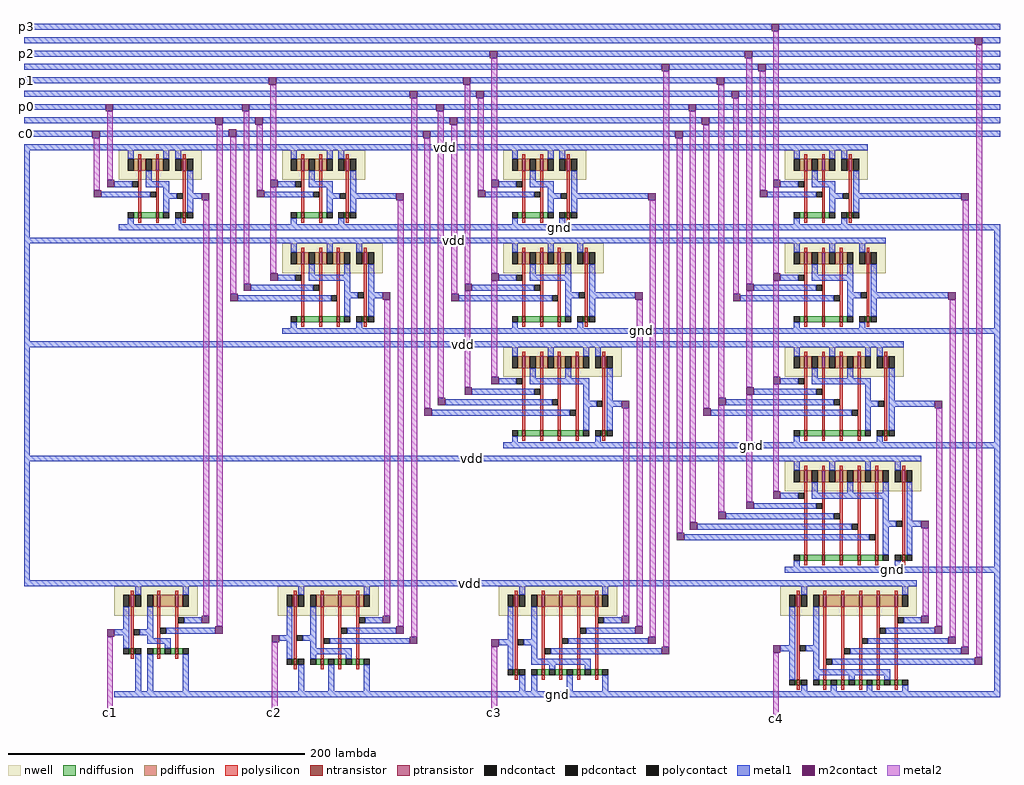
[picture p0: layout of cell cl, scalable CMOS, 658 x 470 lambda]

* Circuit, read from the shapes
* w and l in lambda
.subckt cl c0 c1 c2 c3 c4 g0 g1 g2 g3 gnd p0 p1 p2 p3 vdd
M1 gnd n1 c1 VSUBS nfet w=4 l=2
M2 n2 p0 gnd VSUBS nfet w=4 l=2
M3 n3 c0 n2 VSUBS nfet w=4 l=2
M4 n1 g0 gnd VSUBS nfet w=4 l=2
M5 gnd n4 n1 VSUBS nfet w=4 l=2
M6 n4 n3 gnd VSUBS nfet w=4 l=2
M7 gnd n5 c2 VSUBS nfet w=4 l=2
M8 n6 p1 gnd VSUBS nfet w=4 l=2
M9 n7 p1 gnd VSUBS nfet w=4 l=2
M10 n8 p0 n6 VSUBS nfet w=4 l=2
M11 n9 g0 n7 VSUBS nfet w=4 l=2
M12 gnd g1 n5 VSUBS nfet w=4 l=2
M13 n10 c0 n8 VSUBS nfet w=4 l=2
M14 n5 n11 gnd VSUBS nfet w=4 l=2
M15 n11 n9 gnd VSUBS nfet w=4 l=2
M16 gnd n12 n5 VSUBS nfet w=4 l=2
M17 n12 n10 gnd VSUBS nfet w=4 l=2
M18 gnd n13 c3 VSUBS nfet w=4 l=2
M19 n14 p2 gnd VSUBS nfet w=4 l=2
M20 n15 p2 gnd VSUBS nfet w=4 l=2
M21 n16 p2 gnd VSUBS nfet w=4 l=2
M22 n17 p1 n14 VSUBS nfet w=4 l=2
M23 n18 p1 n15 VSUBS nfet w=4 l=2
M24 n19 g1 n16 VSUBS nfet w=4 l=2
M25 n13 g2 gnd VSUBS nfet w=4 l=2
M26 n20 p0 n17 VSUBS nfet w=4 l=2
M27 n21 g0 n18 VSUBS nfet w=4 l=2
M28 gnd n22 n13 VSUBS nfet w=4 l=2
M29 n22 n19 gnd VSUBS nfet w=4 l=2
M30 n23 c0 n20 VSUBS nfet w=4 l=2
M31 n13 n24 gnd VSUBS nfet w=4 l=2
M32 n24 n21 gnd VSUBS nfet w=4 l=2
M33 gnd n25 n13 VSUBS nfet w=4 l=2
M34 n25 n23 gnd VSUBS nfet w=4 l=2
M35 gnd n26 c4 VSUBS nfet w=4 l=2
M36 n27 p3 gnd VSUBS nfet w=4 l=2
M37 n28 p3 gnd VSUBS nfet w=4 l=2
M38 n29 p3 gnd VSUBS nfet w=4 l=2
M39 n30 p3 gnd VSUBS nfet w=4 l=2
M40 n31 p2 n27 VSUBS nfet w=4 l=2
M41 n32 p2 n28 VSUBS nfet w=4 l=2
M42 n33 p2 n29 VSUBS nfet w=4 l=2
M43 n34 g2 n30 VSUBS nfet w=4 l=2
M44 gnd g3 n26 VSUBS nfet w=4 l=2
M45 n35 p1 n31 VSUBS nfet w=4 l=2
M46 n36 p1 n32 VSUBS nfet w=4 l=2
M47 n37 g1 n33 VSUBS nfet w=4 l=2
M48 n26 n38 gnd VSUBS nfet w=4 l=2
M49 n38 n34 gnd VSUBS nfet w=4 l=2
M50 n39 p0 n35 VSUBS nfet w=4 l=2
M51 n40 g0 n36 VSUBS nfet w=4 l=2
M52 gnd n41 n26 VSUBS nfet w=4 l=2
M53 n41 n37 gnd VSUBS nfet w=4 l=2
M54 n42 c0 n39 VSUBS nfet w=4 l=2
M55 n26 n43 gnd VSUBS nfet w=4 l=2
M56 n43 n40 gnd VSUBS nfet w=4 l=2
M57 gnd n44 n26 VSUBS nfet w=4 l=2
M58 n44 n42 gnd VSUBS nfet w=4 l=2
M59 vdd n1 c1 n45 pfet w=8 l=2
M60 n3 p0 vdd n46 pfet w=8 l=2
M61 vdd c0 n3 n46 pfet w=8 l=2
M62 n47 g0 n1 n45 pfet w=8 l=2
M63 vdd n4 n47 n45 pfet w=8 l=2
M64 n4 n3 vdd n46 pfet w=8 l=2
M65 vdd n5 c2 n48 pfet w=8 l=2
M66 n10 p1 vdd n49 pfet w=8 l=2
M67 n9 p1 vdd n50 pfet w=8 l=2
M68 vdd p0 n10 n49 pfet w=8 l=2
M69 vdd g0 n9 n50 pfet w=8 l=2
M70 n51 g1 n5 n48 pfet w=8 l=2
M71 n10 c0 vdd n49 pfet w=8 l=2
M72 n52 n11 n51 n48 pfet w=8 l=2
M73 n11 n9 vdd n50 pfet w=8 l=2
M74 vdd n12 n52 n48 pfet w=8 l=2
M75 n12 n10 vdd n49 pfet w=8 l=2
M76 vdd n13 c3 n53 pfet w=8 l=2
M77 n23 p2 vdd n54 pfet w=8 l=2
M78 n21 p2 vdd n55 pfet w=8 l=2
M79 n19 p2 vdd n56 pfet w=8 l=2
M80 vdd p1 n23 n54 pfet w=8 l=2
M81 vdd p1 n21 n55 pfet w=8 l=2
M82 vdd g1 n19 n56 pfet w=8 l=2
M83 n57 g2 n13 n53 pfet w=8 l=2
M84 n23 p0 vdd n54 pfet w=8 l=2
M85 n21 g0 vdd n55 pfet w=8 l=2
M86 n58 n22 n57 n53 pfet w=8 l=2
M87 n22 n19 vdd n56 pfet w=8 l=2
M88 vdd c0 n23 n54 pfet w=8 l=2
M89 n59 n24 n58 n53 pfet w=8 l=2
M90 n24 n21 vdd n55 pfet w=8 l=2
M91 vdd n25 n59 n53 pfet w=8 l=2
M92 n25 n23 vdd n54 pfet w=8 l=2
M93 vdd n26 c4 n60 pfet w=8 l=2
M94 n42 p3 vdd n61 pfet w=8 l=2
M95 n40 p3 vdd n62 pfet w=8 l=2
M96 n37 p3 vdd n63 pfet w=8 l=2
M97 n34 p3 vdd n64 pfet w=8 l=2
M98 vdd p2 n42 n61 pfet w=8 l=2
M99 vdd p2 n40 n62 pfet w=8 l=2
M100 vdd p2 n37 n63 pfet w=8 l=2
M101 vdd g2 n34 n64 pfet w=8 l=2
M102 n65 g3 n26 n60 pfet w=8 l=2
M103 n42 p1 vdd n61 pfet w=8 l=2
M104 n40 p1 vdd n62 pfet w=8 l=2
M105 n37 g1 vdd n63 pfet w=8 l=2
M106 n66 n38 n65 n60 pfet w=8 l=2
M107 n38 n34 vdd n64 pfet w=8 l=2
M108 vdd p0 n42 n61 pfet w=8 l=2
M109 vdd g0 n40 n62 pfet w=8 l=2
M110 n67 n41 n66 n60 pfet w=8 l=2
M111 n41 n37 vdd n63 pfet w=8 l=2
M112 n42 c0 vdd n61 pfet w=8 l=2
M113 n68 n43 n67 n60 pfet w=8 l=2
M114 n43 n40 vdd n62 pfet w=8 l=2
M115 vdd n44 n68 n60 pfet w=8 l=2
M116 n44 n42 vdd n61 pfet w=8 l=2
.ends

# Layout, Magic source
magic
tech scmos
<< nwell >>
rect 64 -29 120 -9
rect 174 -29 230 -9
rect 323 -29 379 -9
rect 513 -29 569 -9
rect 174 -92 242 -72
rect 323 -92 391 -72
rect 513 -92 581 -72
rect 323 -162 403 -142
rect 513 -162 593 -142
rect 513 -239 605 -219
rect 61 -323 117 -303
rect 171 -323 239 -303
rect 320 -323 400 -303
rect 510 -323 602 -303
<< ntransistor >>
rect 77 -55 79 -51
rect 89 -55 91 -51
rect 107 -55 109 -51
rect 187 -55 189 -51
rect 199 -55 201 -51
rect 217 -55 219 -51
rect 336 -55 338 -51
rect 348 -55 350 -51
rect 366 -55 368 -51
rect 526 -55 528 -51
rect 538 -55 540 -51
rect 556 -55 558 -51
rect 187 -125 189 -121
rect 199 -125 201 -121
rect 211 -125 213 -121
rect 229 -125 231 -121
rect 336 -125 338 -121
rect 348 -125 350 -121
rect 360 -125 362 -121
rect 378 -125 380 -121
rect 526 -125 528 -121
rect 538 -125 540 -121
rect 550 -125 552 -121
rect 568 -125 570 -121
rect 336 -202 338 -198
rect 348 -202 350 -198
rect 360 -202 362 -198
rect 372 -202 374 -198
rect 390 -202 392 -198
rect 526 -202 528 -198
rect 538 -202 540 -198
rect 550 -202 552 -198
rect 562 -202 564 -198
rect 580 -202 582 -198
rect 526 -286 528 -282
rect 538 -286 540 -282
rect 550 -286 552 -282
rect 562 -286 564 -282
rect 574 -286 576 -282
rect 592 -286 594 -282
rect 72 -349 74 -345
rect 90 -349 92 -345
rect 102 -349 104 -345
rect 182 -356 184 -352
rect 200 -356 202 -352
rect 212 -356 214 -352
rect 224 -356 226 -352
rect 331 -363 333 -359
rect 349 -363 351 -359
rect 361 -363 363 -359
rect 373 -363 375 -359
rect 385 -363 387 -359
rect 521 -370 523 -366
rect 539 -370 541 -366
rect 551 -370 553 -366
rect 563 -370 565 -366
rect 575 -370 577 -366
rect 587 -370 589 -366
<< ptransistor >>
rect 77 -23 79 -15
rect 89 -23 91 -15
rect 107 -23 109 -15
rect 187 -23 189 -15
rect 199 -23 201 -15
rect 217 -23 219 -15
rect 336 -23 338 -15
rect 348 -23 350 -15
rect 366 -23 368 -15
rect 526 -23 528 -15
rect 538 -23 540 -15
rect 556 -23 558 -15
rect 187 -86 189 -78
rect 199 -86 201 -78
rect 211 -86 213 -78
rect 229 -86 231 -78
rect 336 -86 338 -78
rect 348 -86 350 -78
rect 360 -86 362 -78
rect 378 -86 380 -78
rect 526 -86 528 -78
rect 538 -86 540 -78
rect 550 -86 552 -78
rect 568 -86 570 -78
rect 336 -156 338 -148
rect 348 -156 350 -148
rect 360 -156 362 -148
rect 372 -156 374 -148
rect 390 -156 392 -148
rect 526 -156 528 -148
rect 538 -156 540 -148
rect 550 -156 552 -148
rect 562 -156 564 -148
rect 580 -156 582 -148
rect 526 -233 528 -225
rect 538 -233 540 -225
rect 550 -233 552 -225
rect 562 -233 564 -225
rect 574 -233 576 -225
rect 592 -233 594 -225
rect 72 -317 74 -309
rect 90 -317 92 -309
rect 102 -317 104 -309
rect 182 -317 184 -309
rect 200 -317 202 -309
rect 212 -317 214 -309
rect 224 -317 226 -309
rect 331 -317 333 -309
rect 349 -317 351 -309
rect 361 -317 363 -309
rect 373 -317 375 -309
rect 385 -317 387 -309
rect 521 -317 523 -309
rect 539 -317 541 -309
rect 551 -317 553 -309
rect 563 -317 565 -309
rect 575 -317 577 -309
rect 587 -317 589 -309
<< ndiffusion >>
rect 74 -55 77 -51
rect 79 -55 89 -51
rect 91 -55 94 -51
rect 106 -55 107 -51
rect 109 -55 110 -51
rect 184 -55 187 -51
rect 189 -55 199 -51
rect 201 -55 204 -51
rect 216 -55 217 -51
rect 219 -55 220 -51
rect 333 -55 336 -51
rect 338 -55 348 -51
rect 350 -55 353 -51
rect 365 -55 366 -51
rect 368 -55 369 -51
rect 523 -55 526 -51
rect 528 -55 538 -51
rect 540 -55 543 -51
rect 555 -55 556 -51
rect 558 -55 559 -51
rect 184 -125 187 -121
rect 189 -125 199 -121
rect 201 -125 211 -121
rect 213 -125 216 -121
rect 228 -125 229 -121
rect 231 -125 232 -121
rect 333 -125 336 -121
rect 338 -125 348 -121
rect 350 -125 360 -121
rect 362 -125 365 -121
rect 377 -125 378 -121
rect 380 -125 381 -121
rect 523 -125 526 -121
rect 528 -125 538 -121
rect 540 -125 550 -121
rect 552 -125 555 -121
rect 567 -125 568 -121
rect 570 -125 571 -121
rect 333 -202 336 -198
rect 338 -202 348 -198
rect 350 -202 360 -198
rect 362 -202 372 -198
rect 374 -202 377 -198
rect 389 -202 390 -198
rect 392 -202 393 -198
rect 523 -202 526 -198
rect 528 -202 538 -198
rect 540 -202 550 -198
rect 552 -202 562 -198
rect 564 -202 567 -198
rect 579 -202 580 -198
rect 582 -202 583 -198
rect 523 -286 526 -282
rect 528 -286 538 -282
rect 540 -286 550 -282
rect 552 -286 562 -282
rect 564 -286 574 -282
rect 576 -286 579 -282
rect 591 -286 592 -282
rect 594 -286 595 -282
rect 71 -349 72 -345
rect 74 -349 75 -345
rect 87 -349 90 -345
rect 92 -349 95 -345
rect 99 -349 102 -345
rect 104 -349 107 -345
rect 181 -356 182 -352
rect 184 -356 185 -352
rect 197 -356 200 -352
rect 202 -356 205 -352
rect 209 -356 212 -352
rect 214 -356 217 -352
rect 221 -356 224 -352
rect 226 -356 229 -352
rect 330 -363 331 -359
rect 333 -363 334 -359
rect 346 -363 349 -359
rect 351 -363 354 -359
rect 358 -363 361 -359
rect 363 -363 366 -359
rect 370 -363 373 -359
rect 375 -363 378 -359
rect 382 -363 385 -359
rect 387 -363 390 -359
rect 520 -370 521 -366
rect 523 -370 524 -366
rect 536 -370 539 -366
rect 541 -370 544 -366
rect 548 -370 551 -366
rect 553 -370 556 -366
rect 560 -370 563 -366
rect 565 -370 568 -366
rect 572 -370 575 -366
rect 577 -370 580 -366
rect 584 -370 587 -366
rect 589 -370 592 -366
<< pdiffusion >>
rect 74 -23 77 -15
rect 79 -23 82 -15
rect 86 -23 89 -15
rect 91 -23 94 -15
rect 106 -23 107 -15
rect 109 -23 110 -15
rect 184 -23 187 -15
rect 189 -23 192 -15
rect 196 -23 199 -15
rect 201 -23 204 -15
rect 216 -23 217 -15
rect 219 -23 220 -15
rect 333 -23 336 -15
rect 338 -23 341 -15
rect 345 -23 348 -15
rect 350 -23 353 -15
rect 365 -23 366 -15
rect 368 -23 369 -15
rect 523 -23 526 -15
rect 528 -23 531 -15
rect 535 -23 538 -15
rect 540 -23 543 -15
rect 555 -23 556 -15
rect 558 -23 559 -15
rect 184 -86 187 -78
rect 189 -86 192 -78
rect 196 -86 199 -78
rect 201 -86 204 -78
rect 208 -86 211 -78
rect 213 -86 216 -78
rect 228 -86 229 -78
rect 231 -86 232 -78
rect 333 -86 336 -78
rect 338 -86 341 -78
rect 345 -86 348 -78
rect 350 -86 353 -78
rect 357 -86 360 -78
rect 362 -86 365 -78
rect 377 -86 378 -78
rect 380 -86 381 -78
rect 523 -86 526 -78
rect 528 -86 531 -78
rect 535 -86 538 -78
rect 540 -86 543 -78
rect 547 -86 550 -78
rect 552 -86 555 -78
rect 567 -86 568 -78
rect 570 -86 571 -78
rect 333 -156 336 -148
rect 338 -156 341 -148
rect 345 -156 348 -148
rect 350 -156 353 -148
rect 357 -156 360 -148
rect 362 -156 365 -148
rect 369 -156 372 -148
rect 374 -156 377 -148
rect 389 -156 390 -148
rect 392 -156 393 -148
rect 523 -156 526 -148
rect 528 -156 531 -148
rect 535 -156 538 -148
rect 540 -156 543 -148
rect 547 -156 550 -148
rect 552 -156 555 -148
rect 559 -156 562 -148
rect 564 -156 567 -148
rect 579 -156 580 -148
rect 582 -156 583 -148
rect 523 -233 526 -225
rect 528 -233 531 -225
rect 535 -233 538 -225
rect 540 -233 543 -225
rect 547 -233 550 -225
rect 552 -233 555 -225
rect 559 -233 562 -225
rect 564 -233 567 -225
rect 571 -233 574 -225
rect 576 -233 579 -225
rect 591 -233 592 -225
rect 594 -233 595 -225
rect 71 -317 72 -309
rect 74 -317 75 -309
rect 87 -317 90 -309
rect 92 -317 102 -309
rect 104 -317 107 -309
rect 181 -317 182 -309
rect 184 -317 185 -309
rect 197 -317 200 -309
rect 202 -317 212 -309
rect 214 -317 224 -309
rect 226 -317 229 -309
rect 330 -317 331 -309
rect 333 -317 334 -309
rect 346 -317 349 -309
rect 351 -317 361 -309
rect 363 -317 373 -309
rect 375 -317 385 -309
rect 387 -317 390 -309
rect 520 -317 521 -309
rect 523 -317 524 -309
rect 536 -317 539 -309
rect 541 -317 551 -309
rect 553 -317 563 -309
rect 565 -317 575 -309
rect 577 -317 587 -309
rect 589 -317 592 -309
<< ndcontact >>
rect 70 -55 74 -51
rect 94 -55 98 -51
rect 102 -55 106 -51
rect 110 -55 114 -51
rect 180 -55 184 -51
rect 204 -55 208 -51
rect 212 -55 216 -51
rect 220 -55 224 -51
rect 329 -55 333 -51
rect 353 -55 357 -51
rect 361 -55 365 -51
rect 369 -55 373 -51
rect 519 -55 523 -51
rect 543 -55 547 -51
rect 551 -55 555 -51
rect 559 -55 563 -51
rect 180 -125 184 -121
rect 216 -125 220 -121
rect 224 -125 228 -121
rect 232 -125 236 -121
rect 329 -125 333 -121
rect 365 -125 369 -121
rect 373 -125 377 -121
rect 381 -125 385 -121
rect 519 -125 523 -121
rect 555 -125 559 -121
rect 563 -125 567 -121
rect 571 -125 575 -121
rect 329 -202 333 -198
rect 377 -202 381 -198
rect 385 -202 389 -198
rect 393 -202 397 -198
rect 519 -202 523 -198
rect 567 -202 571 -198
rect 575 -202 579 -198
rect 583 -202 587 -198
rect 519 -286 523 -282
rect 579 -286 583 -282
rect 587 -286 591 -282
rect 595 -286 599 -282
rect 67 -349 71 -345
rect 75 -349 79 -345
rect 83 -349 87 -345
rect 95 -349 99 -345
rect 107 -349 111 -345
rect 177 -356 181 -352
rect 185 -356 189 -352
rect 193 -356 197 -352
rect 205 -356 209 -352
rect 217 -356 221 -352
rect 229 -356 233 -352
rect 326 -363 330 -359
rect 334 -363 338 -359
rect 342 -363 346 -359
rect 354 -363 358 -359
rect 366 -363 370 -359
rect 378 -363 382 -359
rect 390 -363 394 -359
rect 516 -370 520 -366
rect 524 -370 528 -366
rect 532 -370 536 -366
rect 544 -370 548 -366
rect 556 -370 560 -366
rect 568 -370 572 -366
rect 580 -370 584 -366
rect 592 -370 596 -366
<< pdcontact >>
rect 70 -23 74 -15
rect 82 -23 86 -15
rect 94 -23 98 -15
rect 102 -23 106 -15
rect 110 -23 114 -15
rect 180 -23 184 -15
rect 192 -23 196 -15
rect 204 -23 208 -15
rect 212 -23 216 -15
rect 220 -23 224 -15
rect 329 -23 333 -15
rect 341 -23 345 -15
rect 353 -23 357 -15
rect 361 -23 365 -15
rect 369 -23 373 -15
rect 519 -23 523 -15
rect 531 -23 535 -15
rect 543 -23 547 -15
rect 551 -23 555 -15
rect 559 -23 563 -15
rect 180 -86 184 -78
rect 192 -86 196 -78
rect 204 -86 208 -78
rect 216 -86 220 -78
rect 224 -86 228 -78
rect 232 -86 236 -78
rect 329 -86 333 -78
rect 341 -86 345 -78
rect 353 -86 357 -78
rect 365 -86 369 -78
rect 373 -86 377 -78
rect 381 -86 385 -78
rect 519 -86 523 -78
rect 531 -86 535 -78
rect 543 -86 547 -78
rect 555 -86 559 -78
rect 563 -86 567 -78
rect 571 -86 575 -78
rect 329 -156 333 -148
rect 341 -156 345 -148
rect 353 -156 357 -148
rect 365 -156 369 -148
rect 377 -156 381 -148
rect 385 -156 389 -148
rect 393 -156 397 -148
rect 519 -156 523 -148
rect 531 -156 535 -148
rect 543 -156 547 -148
rect 555 -156 559 -148
rect 567 -156 571 -148
rect 575 -156 579 -148
rect 583 -156 587 -148
rect 519 -233 523 -225
rect 531 -233 535 -225
rect 543 -233 547 -225
rect 555 -233 559 -225
rect 567 -233 571 -225
rect 579 -233 583 -225
rect 587 -233 591 -225
rect 595 -233 599 -225
rect 67 -317 71 -309
rect 75 -317 79 -309
rect 83 -317 87 -309
rect 107 -317 111 -309
rect 177 -317 181 -309
rect 185 -317 189 -309
rect 193 -317 197 -309
rect 229 -317 233 -309
rect 326 -317 330 -309
rect 334 -317 338 -309
rect 342 -317 346 -309
rect 390 -317 394 -309
rect 516 -317 520 -309
rect 524 -317 528 -309
rect 532 -317 536 -309
rect 592 -317 596 -309
<< polysilicon >>
rect 77 -15 79 -12
rect 89 -15 91 -12
rect 107 -15 109 -12
rect 187 -15 189 -12
rect 199 -15 201 -12
rect 217 -15 219 -12
rect 336 -15 338 -12
rect 348 -15 350 -12
rect 366 -15 368 -12
rect 526 -15 528 -12
rect 538 -15 540 -12
rect 556 -15 558 -12
rect 77 -51 79 -23
rect 89 -51 91 -23
rect 107 -51 109 -23
rect 187 -51 189 -23
rect 199 -51 201 -23
rect 217 -51 219 -23
rect 336 -51 338 -23
rect 348 -51 350 -23
rect 366 -51 368 -23
rect 526 -51 528 -23
rect 538 -51 540 -23
rect 556 -51 558 -23
rect 77 -58 79 -55
rect 89 -58 91 -55
rect 107 -58 109 -55
rect 187 -58 189 -55
rect 199 -58 201 -55
rect 217 -58 219 -55
rect 336 -58 338 -55
rect 348 -58 350 -55
rect 366 -58 368 -55
rect 526 -58 528 -55
rect 538 -58 540 -55
rect 556 -58 558 -55
rect 187 -78 189 -75
rect 199 -78 201 -75
rect 211 -78 213 -75
rect 229 -78 231 -75
rect 336 -78 338 -75
rect 348 -78 350 -75
rect 360 -78 362 -75
rect 378 -78 380 -75
rect 526 -78 528 -75
rect 538 -78 540 -75
rect 550 -78 552 -75
rect 568 -78 570 -75
rect 187 -121 189 -86
rect 199 -121 201 -86
rect 211 -121 213 -86
rect 229 -121 231 -86
rect 336 -121 338 -86
rect 348 -121 350 -86
rect 360 -121 362 -86
rect 378 -121 380 -86
rect 526 -121 528 -86
rect 538 -121 540 -86
rect 550 -121 552 -86
rect 568 -121 570 -86
rect 187 -128 189 -125
rect 199 -128 201 -125
rect 211 -128 213 -125
rect 229 -128 231 -125
rect 336 -128 338 -125
rect 348 -128 350 -125
rect 360 -128 362 -125
rect 378 -128 380 -125
rect 526 -128 528 -125
rect 538 -128 540 -125
rect 550 -128 552 -125
rect 568 -128 570 -125
rect 336 -148 338 -145
rect 348 -148 350 -145
rect 360 -148 362 -145
rect 372 -148 374 -145
rect 390 -148 392 -145
rect 526 -148 528 -145
rect 538 -148 540 -145
rect 550 -148 552 -145
rect 562 -148 564 -145
rect 580 -148 582 -145
rect 336 -198 338 -156
rect 348 -198 350 -156
rect 360 -198 362 -156
rect 372 -198 374 -156
rect 390 -198 392 -156
rect 526 -198 528 -156
rect 538 -198 540 -156
rect 550 -198 552 -156
rect 562 -198 564 -156
rect 580 -198 582 -156
rect 336 -205 338 -202
rect 348 -205 350 -202
rect 360 -205 362 -202
rect 372 -205 374 -202
rect 390 -205 392 -202
rect 526 -205 528 -202
rect 538 -205 540 -202
rect 550 -205 552 -202
rect 562 -205 564 -202
rect 580 -205 582 -202
rect 526 -225 528 -222
rect 538 -225 540 -222
rect 550 -225 552 -222
rect 562 -225 564 -222
rect 574 -225 576 -222
rect 592 -225 594 -222
rect 526 -282 528 -233
rect 538 -282 540 -233
rect 550 -282 552 -233
rect 562 -282 564 -233
rect 574 -282 576 -233
rect 592 -282 594 -233
rect 526 -289 528 -286
rect 538 -289 540 -286
rect 550 -289 552 -286
rect 562 -289 564 -286
rect 574 -289 576 -286
rect 592 -289 594 -286
rect 72 -309 74 -306
rect 90 -309 92 -306
rect 102 -309 104 -306
rect 182 -309 184 -306
rect 200 -309 202 -306
rect 212 -309 214 -306
rect 224 -309 226 -306
rect 331 -309 333 -306
rect 349 -309 351 -306
rect 361 -309 363 -306
rect 373 -309 375 -306
rect 385 -309 387 -306
rect 521 -309 523 -306
rect 539 -309 541 -306
rect 551 -309 553 -306
rect 563 -309 565 -306
rect 575 -309 577 -306
rect 587 -309 589 -306
rect 72 -345 74 -317
rect 90 -345 92 -317
rect 102 -345 104 -317
rect 72 -352 74 -349
rect 90 -352 92 -349
rect 102 -352 104 -349
rect 182 -352 184 -317
rect 200 -352 202 -317
rect 212 -352 214 -317
rect 224 -352 226 -317
rect 182 -359 184 -356
rect 200 -359 202 -356
rect 212 -359 214 -356
rect 224 -359 226 -356
rect 331 -359 333 -317
rect 349 -359 351 -317
rect 361 -359 363 -317
rect 373 -359 375 -317
rect 385 -359 387 -317
rect 331 -366 333 -363
rect 349 -366 351 -363
rect 361 -366 363 -363
rect 373 -366 375 -363
rect 385 -366 387 -363
rect 521 -366 523 -317
rect 539 -366 541 -317
rect 551 -366 553 -317
rect 563 -366 565 -317
rect 575 -366 577 -317
rect 587 -366 589 -317
rect 521 -373 523 -370
rect 539 -373 541 -370
rect 551 -373 553 -370
rect 563 -373 565 -370
rect 575 -373 577 -370
rect 587 -373 589 -370
<< polycontact >>
rect 73 -34 77 -30
rect 85 -41 89 -37
rect 103 -42 107 -38
rect 183 -34 187 -30
rect 195 -41 199 -37
rect 213 -42 217 -38
rect 332 -34 336 -30
rect 344 -41 348 -37
rect 362 -42 366 -38
rect 522 -34 526 -30
rect 534 -41 538 -37
rect 552 -42 556 -38
rect 183 -97 187 -93
rect 195 -104 199 -100
rect 207 -111 211 -107
rect 225 -109 229 -105
rect 332 -97 336 -93
rect 344 -104 348 -100
rect 356 -111 360 -107
rect 374 -109 378 -105
rect 522 -97 526 -93
rect 534 -104 538 -100
rect 546 -111 550 -107
rect 564 -109 568 -105
rect 332 -167 336 -163
rect 344 -174 348 -170
rect 356 -181 360 -177
rect 368 -188 372 -184
rect 386 -182 390 -178
rect 522 -167 526 -163
rect 534 -174 538 -170
rect 546 -181 550 -177
rect 558 -188 562 -184
rect 576 -182 580 -178
rect 522 -244 526 -240
rect 534 -251 538 -247
rect 546 -258 550 -254
rect 558 -265 562 -261
rect 570 -272 574 -268
rect 588 -263 592 -259
rect 74 -336 78 -332
rect 92 -335 96 -331
rect 104 -328 108 -324
rect 184 -340 188 -336
rect 202 -342 206 -338
rect 214 -335 218 -331
rect 226 -328 230 -324
rect 333 -343 337 -339
rect 351 -349 355 -345
rect 363 -342 367 -338
rect 375 -335 379 -331
rect 387 -328 391 -324
rect 523 -347 527 -343
rect 541 -356 545 -352
rect 553 -349 557 -345
rect 565 -342 569 -338
rect 577 -335 581 -331
rect 589 -328 593 -324
<< metal1 >>
rect 0 72 504 76
rect 509 72 658 76
rect 0 63 641 67
rect 646 63 658 67
rect 0 54 314 58
rect 319 54 486 58
rect 491 54 658 58
rect 0 45 430 49
rect 435 45 495 49
rect 500 45 658 49
rect 0 36 165 40
rect 170 36 296 40
rect 301 36 467 40
rect 472 36 658 40
rect 0 27 260 31
rect 265 27 305 31
rect 310 27 477 31
rect 482 27 658 31
rect 0 18 55 22
rect 60 18 147 22
rect 152 18 278 22
rect 283 18 448 22
rect 453 18 658 22
rect 0 9 129 13
rect 134 9 156 13
rect 161 9 287 13
rect 292 9 457 13
rect 462 9 658 13
rect 0 0 46 4
rect 51 0 138 4
rect 143 0 269 4
rect 274 0 439 4
rect 444 0 658 4
rect 0 -9 569 -5
rect 0 -68 4 -9
rect 70 -15 74 -9
rect 94 -15 98 -9
rect 102 -15 106 -9
rect 180 -15 184 -9
rect 204 -15 208 -9
rect 212 -15 216 -9
rect 329 -15 333 -9
rect 353 -15 357 -9
rect 361 -15 365 -9
rect 519 -15 523 -9
rect 543 -15 547 -9
rect 551 -15 555 -9
rect 82 -30 86 -23
rect 61 -34 73 -30
rect 82 -34 98 -30
rect 52 -41 85 -37
rect 94 -38 98 -34
rect 110 -38 114 -23
rect 192 -30 196 -23
rect 171 -34 183 -30
rect 192 -34 208 -30
rect 94 -42 103 -38
rect 110 -42 120 -38
rect 94 -51 98 -42
rect 110 -51 114 -42
rect 162 -41 195 -37
rect 204 -38 208 -34
rect 220 -38 224 -23
rect 341 -30 345 -23
rect 320 -34 332 -30
rect 341 -34 357 -30
rect 204 -42 213 -38
rect 220 -42 251 -38
rect 204 -51 208 -42
rect 220 -51 224 -42
rect 311 -41 344 -37
rect 353 -38 357 -34
rect 369 -38 373 -23
rect 531 -30 535 -23
rect 510 -34 522 -30
rect 531 -34 547 -30
rect 353 -42 362 -38
rect 369 -42 421 -38
rect 353 -51 357 -42
rect 369 -51 373 -42
rect 501 -41 534 -37
rect 543 -38 547 -34
rect 559 -38 563 -23
rect 543 -42 552 -38
rect 559 -42 632 -38
rect 543 -51 547 -42
rect 559 -51 563 -42
rect 70 -59 74 -55
rect 102 -59 106 -55
rect 180 -59 184 -55
rect 212 -59 216 -55
rect 329 -59 333 -55
rect 361 -59 365 -55
rect 519 -59 523 -55
rect 551 -59 555 -55
rect 64 -63 658 -59
rect 0 -72 581 -68
rect 0 -138 4 -72
rect 180 -78 184 -72
rect 204 -78 208 -72
rect 224 -78 228 -72
rect 329 -78 333 -72
rect 353 -78 357 -72
rect 373 -78 377 -72
rect 519 -78 523 -72
rect 543 -78 547 -72
rect 563 -78 567 -72
rect 192 -93 196 -86
rect 216 -93 220 -86
rect 171 -97 183 -93
rect 192 -97 220 -93
rect 153 -104 195 -100
rect 216 -105 220 -97
rect 232 -105 236 -86
rect 341 -93 345 -86
rect 365 -93 369 -86
rect 320 -97 332 -93
rect 341 -97 369 -93
rect 302 -104 344 -100
rect 365 -105 369 -97
rect 381 -105 385 -86
rect 531 -93 535 -86
rect 555 -93 559 -86
rect 510 -97 522 -93
rect 531 -97 559 -93
rect 492 -104 534 -100
rect 555 -105 559 -97
rect 571 -105 575 -86
rect 144 -111 207 -107
rect 216 -109 225 -105
rect 232 -109 242 -105
rect 216 -121 220 -109
rect 232 -121 236 -109
rect 293 -111 356 -107
rect 365 -109 374 -105
rect 381 -109 412 -105
rect 365 -121 369 -109
rect 381 -121 385 -109
rect 483 -111 546 -107
rect 555 -109 564 -105
rect 571 -109 623 -105
rect 555 -121 559 -109
rect 571 -121 575 -109
rect 180 -129 184 -125
rect 224 -129 228 -125
rect 329 -129 333 -125
rect 373 -129 377 -125
rect 519 -129 523 -125
rect 563 -129 567 -125
rect 654 -129 658 -63
rect 174 -133 658 -129
rect 0 -142 593 -138
rect 0 -215 4 -142
rect 329 -148 333 -142
rect 353 -148 357 -142
rect 377 -148 381 -142
rect 385 -148 389 -142
rect 519 -148 523 -142
rect 543 -148 547 -142
rect 567 -148 571 -142
rect 575 -148 579 -142
rect 341 -163 345 -156
rect 365 -163 369 -156
rect 320 -167 332 -163
rect 341 -167 381 -163
rect 302 -174 344 -170
rect 284 -181 356 -177
rect 377 -178 381 -167
rect 393 -178 397 -156
rect 531 -163 535 -156
rect 555 -163 559 -156
rect 510 -167 522 -163
rect 531 -167 571 -163
rect 492 -174 534 -170
rect 377 -182 386 -178
rect 393 -182 403 -178
rect 275 -188 368 -184
rect 377 -198 381 -182
rect 393 -198 397 -182
rect 473 -181 546 -177
rect 567 -178 571 -167
rect 583 -178 587 -156
rect 567 -182 576 -178
rect 583 -182 614 -178
rect 463 -188 558 -184
rect 567 -198 571 -182
rect 583 -198 587 -182
rect 329 -206 333 -202
rect 385 -206 389 -202
rect 519 -206 523 -202
rect 575 -206 579 -202
rect 654 -206 658 -133
rect 323 -210 658 -206
rect 0 -219 605 -215
rect 0 -299 4 -219
rect 519 -225 523 -219
rect 543 -225 547 -219
rect 567 -225 571 -219
rect 587 -225 591 -219
rect 531 -240 535 -233
rect 555 -240 559 -233
rect 579 -240 583 -233
rect 510 -244 522 -240
rect 531 -244 583 -240
rect 492 -251 534 -247
rect 473 -258 546 -254
rect 579 -259 583 -244
rect 595 -259 599 -233
rect 454 -265 558 -261
rect 579 -263 588 -259
rect 595 -263 605 -259
rect 445 -272 570 -268
rect 579 -282 583 -263
rect 595 -282 599 -263
rect 519 -290 523 -286
rect 587 -290 591 -286
rect 654 -290 658 -210
rect 513 -294 658 -290
rect 0 -303 602 -299
rect 75 -309 79 -303
rect 107 -309 111 -303
rect 185 -309 189 -303
rect 229 -309 233 -303
rect 334 -309 338 -303
rect 390 -309 394 -303
rect 524 -309 528 -303
rect 592 -309 596 -303
rect 67 -332 71 -317
rect 83 -332 87 -317
rect 108 -328 120 -324
rect 61 -336 71 -332
rect 78 -336 87 -332
rect 96 -335 129 -331
rect 177 -336 181 -317
rect 193 -336 197 -317
rect 230 -328 242 -324
rect 218 -335 251 -331
rect 67 -345 71 -336
rect 83 -338 87 -336
rect 83 -342 99 -338
rect 172 -340 181 -336
rect 188 -340 197 -336
rect 95 -345 99 -342
rect 75 -374 79 -349
rect 83 -374 87 -349
rect 107 -374 111 -349
rect 177 -352 181 -340
rect 193 -345 197 -340
rect 206 -342 260 -338
rect 326 -339 330 -317
rect 342 -339 346 -317
rect 391 -328 403 -324
rect 379 -335 412 -331
rect 320 -343 330 -339
rect 337 -343 346 -339
rect 367 -342 421 -338
rect 516 -343 520 -317
rect 532 -343 536 -317
rect 593 -328 605 -324
rect 581 -335 614 -331
rect 569 -342 623 -338
rect 193 -349 221 -345
rect 193 -352 197 -349
rect 217 -352 221 -349
rect 185 -374 189 -356
rect 205 -374 209 -356
rect 229 -374 233 -356
rect 326 -359 330 -343
rect 342 -352 346 -343
rect 355 -349 430 -345
rect 510 -347 520 -343
rect 527 -347 536 -343
rect 342 -356 382 -352
rect 354 -359 358 -356
rect 378 -359 382 -356
rect 334 -374 338 -363
rect 342 -374 346 -363
rect 366 -374 370 -363
rect 390 -374 394 -363
rect 516 -366 520 -347
rect 532 -359 536 -347
rect 557 -349 632 -345
rect 545 -356 641 -352
rect 532 -363 584 -359
rect 532 -366 536 -363
rect 556 -366 560 -363
rect 580 -366 584 -363
rect 524 -374 528 -370
rect 544 -374 548 -370
rect 568 -374 572 -370
rect 592 -374 596 -370
rect 654 -374 658 -294
rect 61 -378 658 -374
<< m2contact >>
rect 504 71 509 76
rect 641 62 646 67
rect 314 53 319 58
rect 486 53 491 58
rect 430 44 435 49
rect 495 44 500 49
rect 165 35 170 40
rect 296 35 301 40
rect 467 35 472 40
rect 260 26 265 31
rect 305 26 310 31
rect 477 26 482 31
rect 55 17 60 22
rect 147 17 152 22
rect 278 17 283 22
rect 448 17 453 22
rect 129 8 134 13
rect 156 8 161 13
rect 287 8 292 13
rect 457 8 462 13
rect 46 -1 51 4
rect 138 0 143 5
rect 269 -1 274 4
rect 439 -1 444 4
rect 56 -34 61 -29
rect 47 -41 52 -36
rect 166 -34 171 -29
rect 120 -43 125 -38
rect 157 -41 162 -36
rect 315 -34 320 -29
rect 251 -43 256 -38
rect 306 -41 311 -36
rect 505 -34 510 -29
rect 421 -43 426 -38
rect 496 -41 501 -36
rect 632 -43 637 -38
rect 166 -97 171 -92
rect 148 -104 153 -99
rect 315 -97 320 -92
rect 297 -104 302 -99
rect 505 -97 510 -92
rect 487 -104 492 -99
rect 139 -111 144 -106
rect 242 -110 247 -105
rect 288 -111 293 -106
rect 412 -110 417 -105
rect 478 -111 483 -106
rect 623 -110 628 -105
rect 315 -167 320 -162
rect 297 -174 302 -169
rect 279 -181 284 -176
rect 505 -167 510 -162
rect 487 -174 492 -169
rect 270 -188 275 -183
rect 403 -183 408 -178
rect 468 -181 473 -176
rect 458 -188 463 -183
rect 614 -183 619 -178
rect 505 -244 510 -239
rect 487 -251 492 -246
rect 468 -258 473 -253
rect 449 -265 454 -260
rect 440 -272 445 -267
rect 605 -264 610 -259
rect 120 -328 125 -323
rect 56 -337 61 -332
rect 129 -335 134 -330
rect 242 -328 247 -323
rect 251 -335 256 -330
rect 167 -341 172 -336
rect 260 -342 265 -337
rect 403 -328 408 -323
rect 412 -335 417 -330
rect 315 -344 320 -339
rect 421 -342 426 -337
rect 605 -328 610 -323
rect 614 -335 619 -330
rect 623 -342 628 -337
rect 430 -349 435 -344
rect 505 -348 510 -343
rect 632 -349 637 -344
rect 641 -356 646 -351
<< metal2 >>
rect 47 -36 51 -1
rect 56 -29 60 17
rect 121 -323 125 -43
rect 130 -330 134 8
rect 139 -106 143 0
rect 148 -99 152 17
rect 157 -36 161 8
rect 166 -29 170 35
rect 166 -92 170 -34
rect 243 -323 247 -110
rect 252 -330 256 -43
rect 56 -390 60 -337
rect 261 -337 265 26
rect 270 -183 274 -1
rect 279 -176 283 17
rect 288 -106 292 8
rect 297 -99 301 35
rect 306 -36 310 26
rect 315 -29 319 53
rect 315 -92 319 -34
rect 297 -169 301 -104
rect 315 -162 319 -97
rect 404 -323 408 -183
rect 413 -330 417 -110
rect 422 -337 426 -43
rect 167 -390 171 -341
rect 431 -344 435 44
rect 440 -267 444 -1
rect 449 -260 453 17
rect 458 -183 462 8
rect 468 -176 472 35
rect 478 -106 482 26
rect 487 -99 491 53
rect 496 -36 500 44
rect 505 -29 509 71
rect 505 -92 509 -34
rect 487 -169 491 -104
rect 505 -162 509 -97
rect 468 -253 472 -181
rect 487 -246 491 -174
rect 505 -239 509 -167
rect 606 -323 610 -264
rect 615 -330 619 -183
rect 624 -337 628 -110
rect 315 -390 319 -344
rect 633 -344 637 -43
rect 505 -394 509 -348
rect 642 -351 646 62
<< labels >>
rlabel metal1 0 0 4 4 3 c0
rlabel metal1 0 9 4 13 3 g0
rlabel metal1 0 18 4 22 3 p0
rlabel metal1 0 27 4 31 3 g1
rlabel metal1 0 36 4 40 3 p1
rlabel metal1 0 45 4 49 3 g2
rlabel metal1 0 54 4 58 3 p2
rlabel metal1 0 63 4 67 3 g3
rlabel metal1 0 72 4 76 4 p3
rlabel metal2 56 -390 60 -386 1 c1
rlabel metal2 167 -390 171 -386 1 c2
rlabel metal2 315 -390 319 -386 1 c3
rlabel metal2 505 -394 509 -390 1 c4
rlabel metal1 61 -378 658 -374 1 gnd
rlabel metal1 0 -303 602 -299 1 vdd
rlabel metal1 0 -219 605 -215 1 vdd
rlabel metal1 0 -142 593 -138 1 vdd
rlabel metal1 0 -72 581 -68 1 vdd
rlabel metal1 0 -9 569 -5 1 vdd
rlabel metal1 64 -63 658 -59 1 gnd
rlabel metal1 174 -133 658 -129 1 gnd
rlabel metal1 323 -210 658 -206 1 gnd
rlabel metal1 513 -294 658 -290 1 gnd
<< end >>
